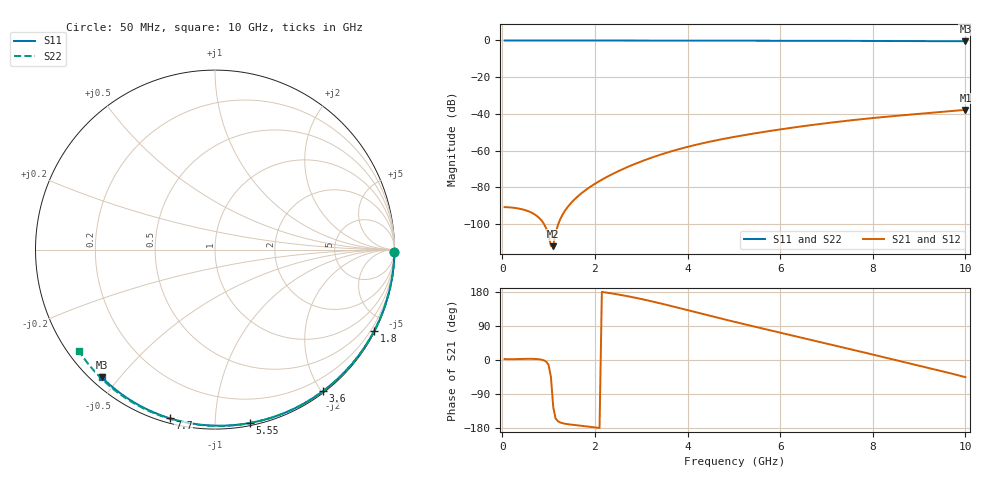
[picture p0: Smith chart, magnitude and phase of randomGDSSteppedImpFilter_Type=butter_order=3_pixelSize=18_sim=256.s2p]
! freq	dB(S11)	phase(S11)	dB(S12)	phase(S12)
!  dB(S21)	phase(S21)	dB(S22)	phase(S22)
!S-par simulation data
#  GHz  S  DB  R 50
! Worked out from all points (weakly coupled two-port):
!   200 points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, 50 MHz to 10 GHz, reference 50 ohm
!   highest |S21| = -37.78 dB at 10 GHz (marker M1); lowest = -112.0 dB at 1.1 GHz (marker M2)
!   lowest |S11| = -0.4 dB at 10 GHz (marker M3), VSWR 39.44, Z = 1.53 - j22.5 ohm
!   |S11| at or under -10 dB: nowhere
!   |S22| runs from -0.5 to 0.0 dB; largest |S21 - S12| = 0
!   S11 on the Smith chart (normalised r, x): 50 MHz: open; 1.8 GHz: 0.04, -4.17; 3.6 GHz: 0.02, -2.02; 5.55 GHz: 0.02, -1.22; 7.7 GHz: 0.02, -0.77; 10 GHz: 0.03, -0.45
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0.05  -0.00 -0.8  -90.74 2.7  -90.74 2.7  -0.00 -0.8
0.55  -0.01 -8.3  -92.86 3.2  -92.86 3.2  -0.01 -9.1
1.1  -0.02 -16.6  -112.00 -124.4  -112.00 -124.4  -0.02 -18.2
1.75  -0.03 -26.2  -82.39 -174.2  -82.39 -174.2  -0.04 -28.7
1.8  -0.03 -27.0  -81.44 -174.9  -81.44 -174.9  -0.04 -29.5
1.85  -0.04 -27.7  -80.54 -175.6  -80.54 -175.6  -0.04 -30.3
1.9  -0.04 -28.4  -79.68 -176.3  -79.68 -176.3  -0.04 -31.1
2.05  -0.04 -30.6  -77.27 -178.6  -77.27 -178.6  -0.04 -33.5
2.25  -0.04 -33.6  -74.42 177.9  -74.42 177.9  -0.05 -36.7
2.7  -0.05 -40.0  -68.96 168.5  -68.96 168.5  -0.06 -43.8
3.05  -0.06 -45.0  -65.39 159.7  -65.39 159.7  -0.06 -49.2
3.4  -0.07 -50.0  -62.30 149.8  -62.30 149.8  -0.07 -54.6
3.6  -0.07 -52.7  -60.73 143.9  -60.73 143.9  -0.08 -57.6
4.25  -0.09 -61.6  -56.41 123.9  -56.41 123.9  -0.10 -67.3
5.05  -0.11 -72.3  -52.31 99.7  -52.31 99.7  -0.12 -78.8
5.55  -0.13 -78.7  -50.18 85.1  -50.18 85.1  -0.14 -85.8
6.1  -0.15 -85.7  -48.07 69.4  -48.07 69.4  -0.17 -93.3
6.7  -0.18 -93.1  -45.99 52.3  -45.99 52.3  -0.20 -101.3
7.7  -0.24 -105.1  -43.02 23.2  -43.02 23.2  -0.26 -114.4
8.35  -0.29 -112.7  -41.40 4.1  -41.40 4.1  -0.32 -122.7
9.2  -0.36 -122.4  -39.51 -20.7  -39.51 -20.7  -0.40 -133.4
10  -0.44 -131.4  -37.78 -45.3  -37.78 -45.3  -0.49 -143.5
